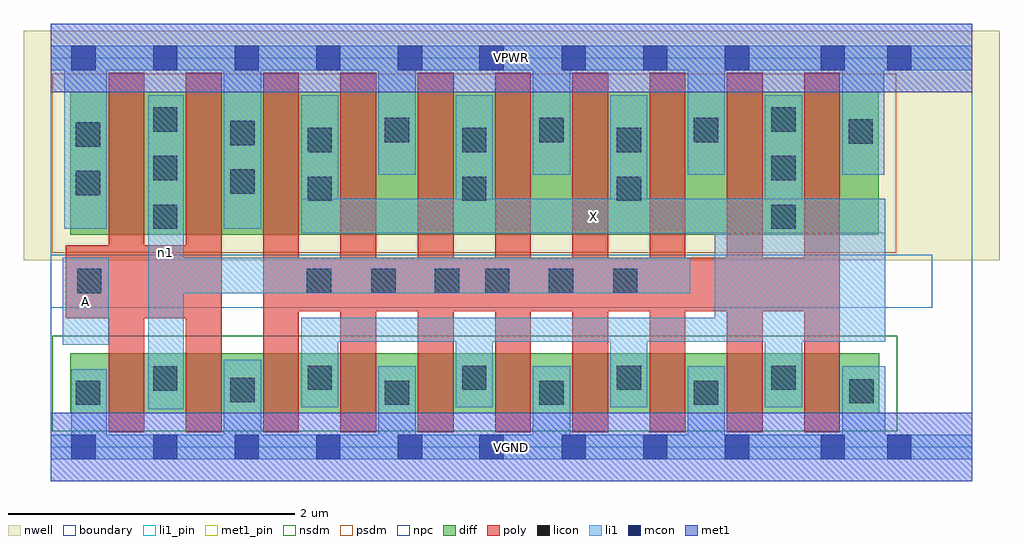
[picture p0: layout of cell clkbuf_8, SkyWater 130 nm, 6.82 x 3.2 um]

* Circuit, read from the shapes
.subckt clkbuf_8 A VGND VPWR X n1
XM1 n1 A VGND VSUBS sky130_fd_pr__nfet_01v8 w=0.42 l=0.25 m=2
XM2 X n1 VGND VSUBS sky130_fd_pr__nfet_01v8 w=0.42 l=0.25 m=8
XM3 n1 A VPWR n2 sky130_fd_pr__pfet_01v8 w=1 l=0.25 m=2
XM4 X n1 VPWR n2 sky130_fd_pr__pfet_01v8 w=1 l=0.25 m=8
.ends

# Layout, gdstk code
import gdstk
lib = gdstk.Library(unit=1e-6, precision=1e-09)
def R(c, l, rs):  # rectangles x0, y0, x1, y1
    for r in rs: c.add(gdstk.rectangle(r[:2], r[2:], *l))
def A(c, l, x, y, w, h, nx, ny, dx, dy):  # array of equal rectangles
    R(c, l, [(x+i*dx, y+j*dy, x+i*dx+w, y+j*dy+h) for i in range(nx) for j in range(ny)])
nwell = (64, 20)
diff = (65, 20)
poly = (66, 20)
licon = (66, 44)
li1_pin = (67, 16)
li1 = (67, 20)
mcon = (67, 44)
met1_pin = (68, 16)
met1 = (68, 20)
nsdm = (93, 44)
psdm = (94, 20)
npc = (95, 20)
boundary = (235, 4)

clkbuf_8 = lib.new_cell('clkbuf_8')
R(clkbuf_8, nwell, [(-0.19,1.305,6.63,2.91), (0,1.305,6.44,2.91)])
R(clkbuf_8, diff, [(0.135,0.235,5.79,0.655), (0.135,1.485,5.785,2.485)])
A(clkbuf_8, poly, 0.405, 0.105, 0.25, 2.51, 10, 1, 0.54, 0)
R(clkbuf_8, poly, [(0.105,0.9,1.195,1.41), (1.485,0.95,5.515,1.325)])
A(clkbuf_8, licon, 2.335, 0.295, 0.17, 0.17, 3, 2, 1.08, 1.835)
A(clkbuf_8, licon, 1.795, 0.4, 0.17, 0.17, 4, 1, 1.08, 0)
A(clkbuf_8, licon, 0.715, 1.525, 0.17, 0.17, 1, 3, 0, 0.34)
A(clkbuf_8, licon, 5.035, 1.525, 0.17, 0.17, 1, 3, 0, 0.34)
A(clkbuf_8, licon, 1.795, 1.72, 0.17, 0.17, 3, 2, 1.08, 0.34)
R(clkbuf_8, licon, [(0.175,0.295,0.345,0.465), (5.58,0.305,5.75,0.475), (1.255,0.315,1.425,0.485), (0.715,0.395,0.885,0.565), (0.185,1.075,0.355,1.245), (1.79,1.075,1.96,1.245), (2.24,1.075,2.41,1.245), (2.685,1.075,2.855,1.245), (3.035,1.075,3.205,1.245), (3.48,1.075,3.65,1.245), (3.93,1.075,4.1,1.245), (0.175,1.76,0.345,1.93), (1.255,1.77,1.425,1.94), (0.175,2.1,0.345,2.27), (1.255,2.11,1.425,2.28), (5.575,2.12,5.745,2.29)])
R(clkbuf_8, li1_pin, [(0.085,0.715,0.405,1.325), (1.75,1.495,5.83,1.735)])
A(clkbuf_8, li1, 2.29, -0.085, 0.26, 0.65, 3, 1, 1.08, 0)
A(clkbuf_8, li1, 1.75, 0.28, 0.26, 0.625, 3, 1, 1.08, 0)
A(clkbuf_8, li1, 1.75, 1.495, 0.26, 0.965, 3, 1, 1.08, 0)
A(clkbuf_8, li1, 2.29, 1.905, 0.26, 0.9, 3, 1, 1.08, 0)
R(clkbuf_8, li1, [(0,-0.085,6.44,0.085), (0.145,-0.085,0.39,0.545), (1.21,-0.085,1.47,0.61), (5.53,-0.085,5.83,0.565), (0.68,0.265,0.93,2.46), (4.99,0.28,5.25,2.46), (0.085,0.715,0.405,1.325), (1.75,0.735,5.83,0.905), (4.64,0.735,5.83,1.735), (0.68,1.075,4.47,1.325), (1.75,1.495,5.83,1.735), (0.095,1.525,0.39,2.805), (1.21,1.525,1.47,2.805), (5.53,1.905,5.825,2.805), (0,2.635,6.44,2.805)])
A(clkbuf_8, mcon, 0.145, -0.085, 0.17, 0.17, 6, 2, 0.57, 2.72)
A(clkbuf_8, mcon, 3.57, -0.085, 0.17, 0.17, 3, 2, 0.57, 2.72)
R(clkbuf_8, mcon, [(5.38,-0.085,5.55,0.085), (5.845,-0.085,6.015,0.085), (5.38,2.635,5.55,2.805), (5.845,2.635,6.015,2.805)])
R(clkbuf_8, met1_pin, [(0,-0.24,6.44,0.24), (0,2.48,6.44,2.96)])
R(clkbuf_8, met1, [(0,-0.24,6.44,0.24), (0,2.48,6.44,2.96)])
R(clkbuf_8, nsdm, [(0.01,0.11,5.915,0.78)])
R(clkbuf_8, psdm, [(0.01,1.36,5.91,2.61)])
R(clkbuf_8, npc, [(0,0.975,6.16,1.345)])
R(clkbuf_8, boundary, [(0,0,6.44,2.72)])
clkbuf_8.add(gdstk.Label('A', (0.245,1.02), layer=67, texttype=5))
clkbuf_8.add(gdstk.Label('X', (3.79,1.615), layer=67, texttype=5))
clkbuf_8.add(gdstk.Label('n1', (0.805,1.362), layer=67, texttype=5))
clkbuf_8.add(gdstk.Label('VPWR', (3.22,2.72), layer=68, texttype=5))
clkbuf_8.add(gdstk.Label('VGND', (3.22,0), layer=68, texttype=5))
clkbuf_8.add(gdstk.Label('A', (0.245,1.02), layer=67, texttype=16))
clkbuf_8.add(gdstk.Label('X', (3.79,1.615), layer=67, texttype=16))
clkbuf_8.add(gdstk.Label('VPWR', (3.22,2.72), layer=68, texttype=16))
clkbuf_8.add(gdstk.Label('VGND', (3.22,0), layer=68, texttype=16))

lib.write_gds('clkbuf_8.gds')
